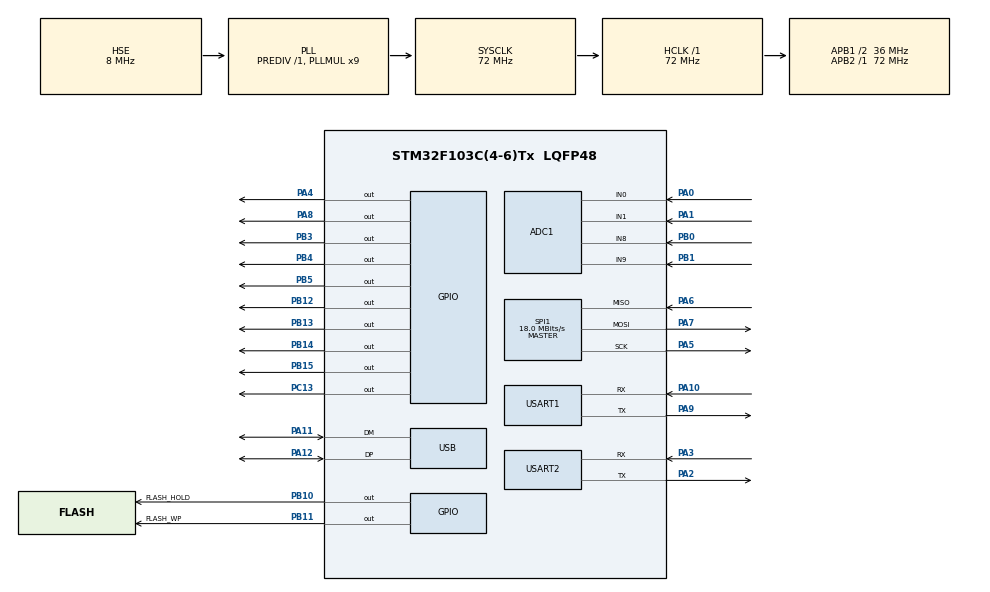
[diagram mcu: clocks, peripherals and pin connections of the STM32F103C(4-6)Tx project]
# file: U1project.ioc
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ADC1.Channel-1\#ChannelRegularConversion=ADC_CHANNEL_VREFINT
ADC1.NbrOfConversionFlag=1
ADC1.Rank-1\#ChannelRegularConversion=1
ADC1.SamplingTime-1\#ChannelRegularConversion=ADC_SAMPLETIME_1CYCLE_5
ADC1.master=1
Dma.Request0=USART1_RX
Dma.Request1=USART2_RX
Dma.USART1_RX.0.Direction=DMA_PERIPH_TO_MEMORY
Dma.USART1_RX.0.Instance=DMA1_Channel5
Dma.USART1_RX.0.MemDataAlignment=DMA_MDATAALIGN_BYTE
Dma.USART1_RX.0.MemInc=DMA_MINC_ENABLE
Dma.USART1_RX.0.Mode=DMA_CIRCULAR
Dma.USART1_RX.0.PeriphDataAlignment=DMA_PDATAALIGN_BYTE
Dma.USART1_RX.0.PeriphInc=DMA_PINC_DISABLE
Dma.USART1_RX.0.Priority=DMA_PRIORITY_LOW
Dma.USART2_RX.1.Direction=DMA_PERIPH_TO_MEMORY
Dma.USART2_RX.1.Instance=DMA1_Channel6
Dma.USART2_RX.1.MemDataAlignment=DMA_MDATAALIGN_BYTE
Dma.USART2_RX.1.MemInc=DMA_MINC_ENABLE
Dma.USART2_RX.1.Mode=DMA_CIRCULAR
Dma.USART2_RX.1.PeriphDataAlignment=DMA_PDATAALIGN_HALFWORD
Dma.USART2_RX.1.PeriphInc=DMA_PINC_DISABLE
Dma.USART2_RX.1.Priority=DMA_PRIORITY_LOW
Mcu.Family=STM32F1
Mcu.Name=STM32F103C(4-6)Tx
Mcu.Package=LQFP48
NVIC.DMA1_Channel5_IRQn=true\:0\:0\:false\:false\:true\:false\:true\:true
NVIC.DMA1_Channel6_IRQn=true\:0\:0\:false\:false\:true\:false\:true\:true
NVIC.PriorityGroup=NVIC_PRIORITYGROUP_4
NVIC.USART1_IRQn=true\:0\:0\:false\:false\:true\:true\:true\:true
NVIC.USART2_IRQn=true\:0\:0\:false\:false\:true\:true\:true\:true
NVIC.USB_HP_CAN1_TX_IRQn=true\:0\:0\:false\:false\:true\:true\:true\:true
NVIC.USB_LP_CAN1_RX0_IRQn=true\:0\:0\:false\:false\:true\:false\:true\:true
PA0-WKUP.Signal=ADCx_IN0
PA1.Signal=ADCx_IN1
PA10.Mode=Asynchronous
PA10.Signal=USART1_RX
PA11.Mode=Device
PA11.Signal=USB_DM
PA12.Mode=Device
PA12.Signal=USB_DP
PA13.Mode=Serial_Wire
PA13.Signal=SYS_JTMS-SWDIO
PA14.Mode=Serial_Wire
PA14.Signal=SYS_JTCK-SWCLK
PA2.Mode=Asynchronous
PA2.Signal=USART2_TX
PA3.Mode=Asynchronous
PA3.Signal=USART2_RX
PA4.Signal=GPIO_Output
PA5.Mode=Full_Duplex_Master
PA5.Signal=SPI1_SCK
PA6.Mode=Full_Duplex_Master
PA6.Signal=SPI1_MISO
PA7.Mode=Full_Duplex_Master
PA7.Signal=SPI1_MOSI
PA8.Signal=GPIO_Output
PA9.Mode=Asynchronous
PA9.Signal=USART1_TX
PB0.Signal=ADCx_IN8
PB1.Signal=ADCx_IN9
PB10.GPIO_Label=FLASH_HOLD
PB10.PinState=GPIO_PIN_SET
PB10.Signal=GPIO_Output
PB11.GPIO_Label=FLASH_WP
PB11.PinState=GPIO_PIN_SET
PB11.Signal=GPIO_Output
PB12.Signal=GPIO_Output
PB13.Signal=GPIO_Output
PB14.Signal=GPIO_Output
PB15.PinState=GPIO_PIN_SET
PB15.Signal=GPIO_Output
PB3.PinState=GPIO_PIN_SET
PB3.Signal=GPIO_Output
PB4.Signal=GPIO_Output
PB5.Signal=GPIO_Output
PC13-TAMPER-RTC.Signal=GPIO_Output
PD0-OSC_IN.Mode=HSE-External-Oscillator
PD0-OSC_IN.Signal=RCC_OSC_IN
PD1-OSC_OUT.Mode=HSE-External-Oscillator
PD1-OSC_OUT.Signal=RCC_OSC_OUT
ProjectManager.HeapSize=0x400
ProjectManager.StackSize=0x400
ProjectManager.TargetToolchain=MDK-ARM V5.32
RCC.ADCPresc=RCC_ADCPCLK2_DIV6
RCC.AHBFreq_Value=72000000
RCC.APB1CLKDivider=RCC_HCLK_DIV2
RCC.APB1Freq_Value=36000000
RCC.APB1TimFreq_Value=72000000
RCC.APB2Freq_Value=72000000
RCC.APB2TimFreq_Value=72000000
RCC.HCLKFreq_Value=72000000
RCC.PLLMUL=RCC_PLL_MUL9
RCC.SYSCLKFreq_VALUE=72000000
RCC.SYSCLKSource=RCC_SYSCLKSOURCE_PLLCLK
RCC.USBFreq_Value=48000000
RCC.USBPrescaler=RCC_USBCLKSOURCE_PLL_DIV1_5
SH.ADCx_IN0.0=ADC1_IN0,IN0
SH.ADCx_IN1.0=ADC1_IN1,IN1
SH.ADCx_IN8.0=ADC1_IN8,IN8
SH.ADCx_IN9.0=ADC1_IN9,IN9
SPI1.BaudRatePrescaler=SPI_BAUDRATEPRESCALER_4
SPI1.CalculateBaudRate=18.0 MBits/s
SPI1.Direction=SPI_DIRECTION_2LINES
SPI1.Mode=SPI_MODE_MASTER
SPI1.VirtualType=VM_MASTER
USART1.Parity=PARITY_NONE
USART1.VirtualMode=VM_ASYNC
USART1.WordLength=WORDLENGTH_8B
USART2.Parity=PARITY_EVEN
USART2.VirtualMode=VM_ASYNC
USART2.WordLength=WORDLENGTH_9B
USB_DEVICE.APP_RX_DATA_SIZE=512
USB_DEVICE.APP_TX_DATA_SIZE=512
USB_DEVICE.CLASS_NAME_FS=CDC
USB_DEVICE.VirtualMode=Cdc
USB_DEVICE.VirtualModeFS=Cdc_FS
VP_ADC1_Vref_Input.Mode=IN-Vrefint
VP_USB_DEVICE_VS_USB_DEVICE_CDC_FS.Mode=CDC_FS
board=custom

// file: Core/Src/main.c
/* USER CODE BEGIN Header */
/**
  ******************************************************************************
  * @file           : main.c
  * @brief          : Main program body
  ******************************************************************************
  * @attention
  *
  * Copyright (c) 2026 STMicroelectronics.
  * All rights reserved.
  *
  * This software is licensed under terms that can be found in the LICENSE file
  * in the root directory of this software component.
  * If no LICENSE file comes with this software, it is provided AS-IS.
  *
  ******************************************************************************
  */
/* USER CODE END Header */
#include "main.h"
#include "adc.h"
#include "dma.h"
#include "spi.h"
#include "usart.h"
#include "usb_device.h"
#include "gpio.h"

/* USER CODE BEGIN Includes */
#include "usbd_cdc_if.h"
#include <stdio.h>
#include <stdarg.h>
#include "gd25q128.h"
#include "bsp_uart.h"
#include "bsp_gpio.h"
#include "bsp_adc.h"
#include "protocol_u7.h"
#include "protocol_u4.h"
#include "app.h"
/* USER CODE END Includes */

void SystemClock_Config(void);

/* USER CODE BEGIN 0 */
/* USB_printf 已删除 (从未调用, 且拖累 vsnprintf 引擎 ~1.2KB) */

/* USER CODE END 0 */

int main(void)
{

  /* MCU Configuration--------------------------------------------------------*/

  /* Reset of all peripherals, Initializes the Flash interface and the Systick. */
  HAL_Init();

  /* Configure the system clock */
  SystemClock_Config();

  /* Initialize all configured peripherals */
  MX_GPIO_Init();
  MX_DMA_Init();
  MX_USB_DEVICE_Init();
  MX_ADC1_Init();
  MX_USART2_UART_Init();
  MX_SPI1_Init();
  MX_USART1_UART_Init();
  /* USER CODE BEGIN 2 */
  BSP_GPIO_Init();
  BSP_UART_Init();
  BSP_ADC_Init();
  U7_Proto_Init();
  U4_Proto_Init();
  APP_Init();
  /* USER CODE END 2 */

  /* Infinite loop */
  while (1)
  {
    /* USER CODE BEGIN 3 */
    APP_Run();
  }
  /* USER CODE END 3 */
}

void SystemClock_Config(void)
{
  RCC_OscInitTypeDef RCC_OscInitStruct = {0};
  RCC_ClkInitTypeDef RCC_ClkInitStruct = {0};
  RCC_PeriphCLKInitTypeDef PeriphClkInit = {0};

  /** Initializes the RCC Oscillators according to the specified parameters
  * in the RCC_OscInitTypeDef structure.
  */
  RCC_OscInitStruct.OscillatorType = RCC_OSCILLATORTYPE_HSE;
  RCC_OscInitStruct.HSEState = RCC_HSE_ON;
  RCC_OscInitStruct.HSEPredivValue = RCC_HSE_PREDIV_DIV1;
  RCC_OscInitStruct.HSIState = RCC_HSI_ON;
  RCC_OscInitStruct.PLL.PLLState = RCC_PLL_ON;
  RCC_OscInitStruct.PLL.PLLSource = RCC_PLLSOURCE_HSE;
  RCC_OscInitStruct.PLL.PLLMUL = RCC_PLL_MUL9;
  if (HAL_RCC_OscConfig(&RCC_OscInitStruct) != HAL_OK)
  {
    Error_Handler();
  }

  /** Initializes the CPU, AHB and APB buses clocks
  */
  RCC_ClkInitStruct.ClockType = RCC_CLOCKTYPE_HCLK|RCC_CLOCKTYPE_SYSCLK
                              |RCC_CLOCKTYPE_PCLK1|RCC_CLOCKTYPE_PCLK2;
  RCC_ClkInitStruct.SYSCLKSource = RCC_SYSCLKSOURCE_PLLCLK;
  RCC_ClkInitStruct.AHBCLKDivider = RCC_SYSCLK_DIV1;
  RCC_ClkInitStruct.APB1CLKDivider = RCC_HCLK_DIV2;
  RCC_ClkInitStruct.APB2CLKDivider = RCC_HCLK_DIV1;

  if (HAL_RCC_ClockConfig(&RCC_ClkInitStruct, FLASH_LATENCY_2) != HAL_OK)
  {
    Error_Handler();
  }
  PeriphClkInit.PeriphClockSelection = RCC_PERIPHCLK_ADC|RCC_PERIPHCLK_USB;
  PeriphClkInit.AdcClockSelection = RCC_ADCPCLK2_DIV6;
  PeriphClkInit.UsbClockSelection = RCC_USBCLKSOURCE_PLL_DIV1_5;
  if (HAL_RCCEx_PeriphCLKConfig(&PeriphClkInit) != HAL_OK)
  {
    Error_Handler();
  }
}

void Error_Handler(void)
{
  __disable_irq();
  while (1)
  {
  }
}
